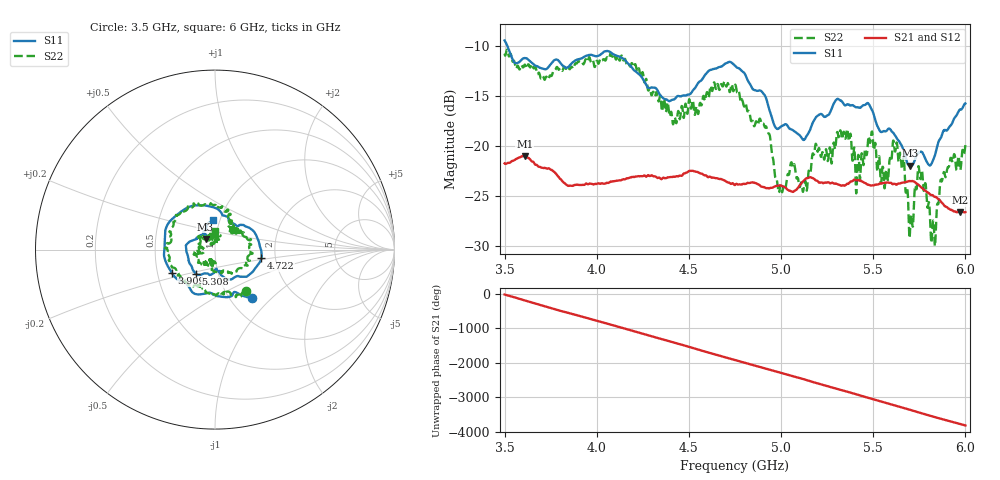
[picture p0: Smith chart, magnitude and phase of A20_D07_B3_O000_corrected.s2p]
! Created with skrf 1.9.0 (http://scikit-rf.org).
# Hz S RI R 50.0
!freq ReS11 ImS11 ReS21 ImS21 ReS12 ImS12 ReS22 ImS22
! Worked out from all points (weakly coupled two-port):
!   1601 points, 3.5 GHz to 6 GHz, reference 50 ohm
!   highest |S21| = -21.02 dB at 3.609 GHz (marker M1); lowest = -26.7 dB at 5.972 GHz (marker M2)
!   lowest |S11| = -22.0 dB at 5.702 GHz (marker M3), VSWR 1.17, Z = 44.7 + j5.34 ohm
!   |S11| at or under -10 dB: 3.515 GHz to end of sweep
!   |S22| runs from -30.0 to -10.4 dB; largest |S21 - S12| = 0.0011
!   S11 on the Smith chart (normalised r, x): 3.5 GHz: 1.26, -0.76; 3.909 GHz: 0.60, -0.17; 4.722 GHz: 1.69, -0.18; 5.308 GHz: 0.78, -0.22; 6 GHz: 0.93, +0.31
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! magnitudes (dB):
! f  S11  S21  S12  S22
! 3.5 GHz  -9.4  -21.8  -21.7  -10.8
! 3.609 GHz  -11.2  -21.0  -21.0  -11.9
! 3.909 GHz  -11.3  -23.9  -23.9  -11.6
! 3.917 GHz  -11.2  -23.9  -23.9  -11.6
! 4.334 GHz  -14.6  -23.2  -23.1  -15.5
! 4.423 GHz  -15.3  -23.1  -23.1  -17.1
! 4.722 GHz  -11.6  -23.7  -23.7  -14.6
! 4.75 GHz  -12.0  -23.9  -23.8  -13.9
! 4.928 GHz  -15.8  -24.2  -24.2  -18.6
! 4.995 GHz  -18.1  -24.0  -23.9  -24.0
! 5.167 GHz  -17.9  -23.2  -23.2  -21.2
! 5.308 GHz  -15.3  -23.9  -23.8  -18.7
! 5.417 GHz  -16.1  -23.4  -23.5  -21.1
! 5.484 GHz  -16.1  -24.0  -23.9  -19.6
! 5.584 GHz  -18.3  -23.7  -23.7  -22.5
! 5.656 GHz  -20.0  -23.7  -23.6  -22.3
! 5.702 GHz  -22.0  -23.5  -23.5  -27.8
! 5.755 GHz  -20.6  -24.1  -24.0  -23.3
! 5.827 GHz  -21.3  -25.0  -25.0  -27.5
! 5.875 GHz  -18.8  -25.7  -25.7  -23.4
! 5.972 GHz  -16.3  -26.7  -26.6  -22.4
! 6 GHz  -15.7  -26.6  -26.6  -19.9
